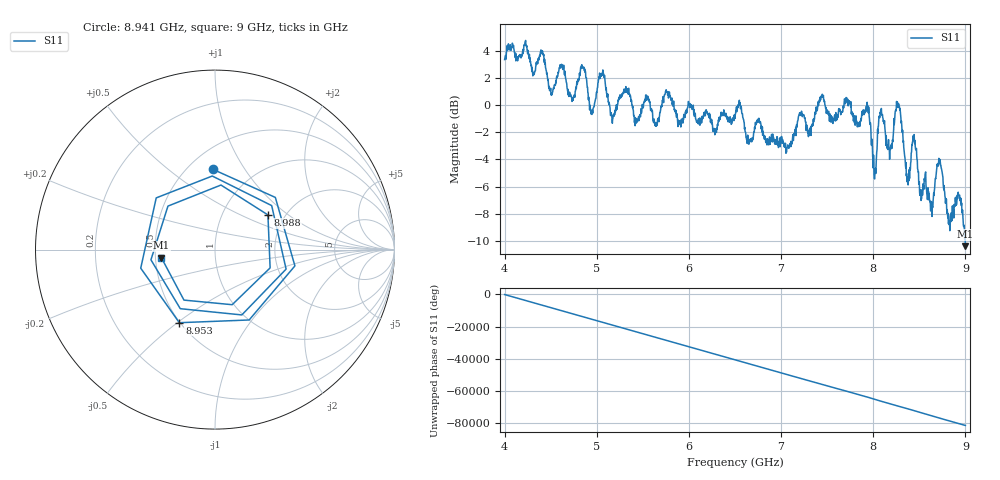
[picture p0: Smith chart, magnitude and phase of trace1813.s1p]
! Created with skrf 1.8.0 (http://scikit-rf.org).
# Hz S RI R 50.0
!freq ReS11 ImS11
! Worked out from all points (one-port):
!   1601 points, 4 GHz to 9 GHz, reference 50 ohm
!   lowest |S11| = -10.4 dB at 9 GHz (marker M1), VSWR 1.87, Z = 26.9 - j2.69 ohm
!   |S11| at or under -10 dB: 8.998464 GHz to end of sweep
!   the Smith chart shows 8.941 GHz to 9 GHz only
!   S11 on the Smith chart (normalised r, x): 8.941 GHz: 0.65, +0.73; 8.953 GHz: 0.50, -0.51; 8.988 GHz: 1.64, +0.72; 9 GHz: 0.54, -0.05
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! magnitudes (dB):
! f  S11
! 4 GHz  3.4
! 4.403 GHz  4.0
! 4.506 GHz  0.9
! 4.625 GHz  2.9
! 4.738 GHz  0.5
! 4.853 GHz  2.8
! 4.947 GHz  -0.7
! 5.05 GHz  2.2
! 5.169 GHz  -1.3
! 5.25 GHz  0.5
! 5.875 GHz  -1.0
! 6.5 GHz  -1.0
! 7.125 GHz  -2.4
! 7.75 GHz  0.2
! 7.938 GHz  -0.2
! 8.016 GHz  -5.4
! 8.078 GHz  -0.6
! 8.178 GHz  -4.0
! 8.272 GHz  0.0
! 8.375 GHz  -5.7
! 8.444 GHz  -2.2
! 8.622 GHz  -7.8
! 8.716 GHz  -4.1
! 8.831 GHz  -9.3
! 8.941 GHz  -7.0
! 8.953 GHz  -6.9
! 8.988 GHz  -9.1
! 9 GHz  -10.4
